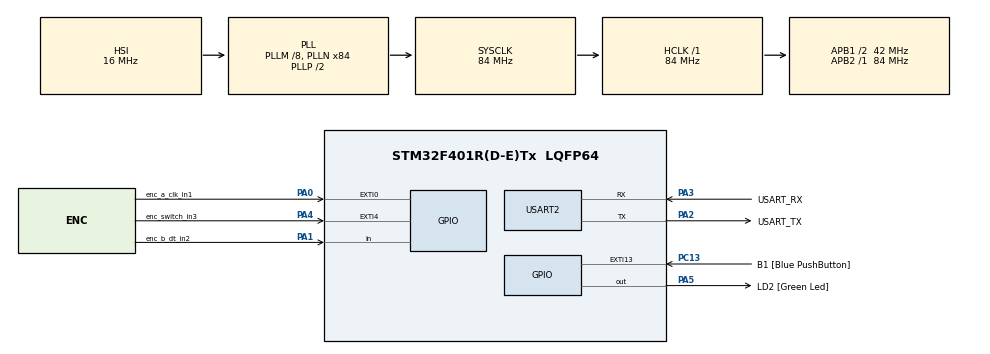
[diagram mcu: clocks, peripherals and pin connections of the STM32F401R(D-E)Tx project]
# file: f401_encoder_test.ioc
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Mcu.Family=STM32F4
Mcu.Name=STM32F401R(D-E)Tx
Mcu.Package=LQFP64
NVIC.EXTI0_IRQn=true\:0\:0\:false\:false\:true\:true\:true\:true
NVIC.EXTI15_10_IRQn=true\:0\:0\:false\:false\:true\:true\:true\:true
NVIC.EXTI4_IRQn=true\:0\:0\:false\:false\:true\:true\:true\:true
NVIC.PriorityGroup=NVIC_PRIORITYGROUP_0
NVIC.TIM5_IRQn=true\:0\:0\:false\:false\:true\:true\:true\:true
PA0-WKUP.GPIO_Label=enc_a_clk_in1
PA0-WKUP.GPIO_ModeDefaultEXTI=GPIO_MODE_IT_FALLING
PA0-WKUP.GPIO_PuPd=GPIO_PULLUP
PA0-WKUP.Signal=GPXTI0
PA1.GPIO_Label=enc_b_dt_in2
PA1.GPIO_PuPd=GPIO_PULLUP
PA1.Signal=GPIO_Input
PA13.GPIO_Label=TMS
PA13.Mode=Serial_Wire
PA13.Signal=SYS_JTMS-SWDIO
PA14.GPIO_Label=TCK
PA14.Mode=Serial_Wire
PA14.Signal=SYS_JTCK-SWCLK
PA2.GPIO_Label=USART_TX
PA2.GPIO_Mode=GPIO_MODE_AF_PP
PA2.GPIO_PuPd=GPIO_NOPULL
PA2.GPIO_Speed=GPIO_SPEED_FREQ_LOW
PA2.Mode=Asynchronous
PA2.Signal=USART2_TX
PA3.GPIO_Label=USART_RX
PA3.GPIO_Mode=GPIO_MODE_AF_PP
PA3.GPIO_PuPd=GPIO_NOPULL
PA3.GPIO_Speed=GPIO_SPEED_FREQ_LOW
PA3.Mode=Asynchronous
PA3.Signal=USART2_RX
PA4.GPIO_Label=enc_switch_in3
PA4.GPIO_PuPd=GPIO_PULLUP
PA4.Signal=GPXTI4
PA5.GPIO_Label=LD2 [Green Led]
PA5.GPIO_Mode=GPIO_MODE_OUTPUT_PP
PA5.GPIO_PuPd=GPIO_NOPULL
PA5.GPIO_Speed=GPIO_SPEED_FREQ_LOW
PA5.Signal=GPIO_Output
PB3.GPIO_Label=SWO
PB3.Signal=SYS_JTDO-SWO
PC13-ANTI_TAMP.GPIO_Label=B1 [Blue PushButton]
PC13-ANTI_TAMP.GPIO_ModeDefaultEXTI=GPIO_MODE_IT_FALLING
PC13-ANTI_TAMP.GPIO_PuPd=GPIO_NOPULL
PC13-ANTI_TAMP.Signal=GPXTI13
PC14-OSC32_IN.Mode=LSE-External-Oscillator
PC14-OSC32_IN.Signal=RCC_OSC32_IN
PC15-OSC32_OUT.Mode=LSE-External-Oscillator
PC15-OSC32_OUT.Signal=RCC_OSC32_OUT
PH0\ -\ OSC_IN.Mode=HSE-External-Clock-Source
PH0\ -\ OSC_IN.Signal=RCC_OSC_IN
PH1\ -\ OSC_OUT.Mode=HSE-External-Clock-Source
PH1\ -\ OSC_OUT.Signal=RCC_OSC_OUT
ProjectManager.HeapSize=0x200
ProjectManager.StackSize=0x400
ProjectManager.TargetToolchain=Makefile
RCC.48MHZClocksFreq_Value=24000000
RCC.AHBFreq_Value=84000000
RCC.APB1CLKDivider=RCC_HCLK_DIV2
RCC.APB1Freq_Value=42000000
RCC.APB1TimFreq_Value=84000000
RCC.APB2Freq_Value=84000000
RCC.APB2TimFreq_Value=84000000
RCC.CortexFreq_Value=84000000
RCC.HCLKFreq_Value=84000000
RCC.HSE_VALUE=8000000
RCC.HSI_VALUE=16000000
RCC.PLLM=8
RCC.PLLN=84
RCC.PLLQ=7
RCC.SYSCLKFreq_VALUE=84000000
RCC.SYSCLKSource=RCC_SYSCLKSOURCE_PLLCLK
RCC.VCOOutputFreq_Value=168000000
TIM5.Period=8400
TIM5.Prescaler=100
USART2.VirtualMode=VM_ASYNC
VP_TIM5_VS_ClockSourceINT.Mode=Internal
VP_TIM5_VS_OPM.Mode=OPM_bit
board=NUCLEO-F401RE

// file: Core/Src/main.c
/* USER CODE BEGIN Header */
/**
  ******************************************************************************
  * @file           : main.c
  * @brief          : Main program body
  ******************************************************************************
  * @attention
  *
  * Copyright (c) 2024 STMicroelectronics.
  * All rights reserved.
  *
  * This software is licensed under terms that can be found in the LICENSE file
  * in the root directory of this software component.
  * If no LICENSE file comes with this software, it is provided AS-IS.
  *
  ******************************************************************************
  */
/* USER CODE END Header */
#include "main.h"

/* USER CODE BEGIN Includes */
#include <stdbool.h>

/* USER CODE END Includes */

TIM_HandleTypeDef htim5;

UART_HandleTypeDef huart2;

/* USER CODE BEGIN PV */
uint32_t rotory_enc_count = 0;
bool switch_push_button = false;
uint32_t i = 0;
bool debounce = false;

/* USER CODE END PV */

void SystemClock_Config(void);
static void MX_GPIO_Init(void);
static void MX_USART2_UART_Init(void);
static void MX_TIM5_Init(void);

int main(void)
{

  /* MCU Configuration--------------------------------------------------------*/

  /* Reset of all peripherals, Initializes the Flash interface and the Systick. */
  HAL_Init();

  /* Configure the system clock */
  SystemClock_Config();

  /* Initialize all configured peripherals */
  MX_GPIO_Init();
  MX_USART2_UART_Init();
  MX_TIM5_Init();

  /* Infinite loop */
  while (1)
  {

    /* USER CODE BEGIN 3 */
    if (switch_push_button==true){
      i++;
      switch_push_button = false;
    }
    {
      /* code */
    }

  }
  /* USER CODE END 3 */
}

void SystemClock_Config(void)
{
  RCC_OscInitTypeDef RCC_OscInitStruct = {0};
  RCC_ClkInitTypeDef RCC_ClkInitStruct = {0};

  /** Configure the main internal regulator output voltage
  */
  __HAL_RCC_PWR_CLK_ENABLE();
  __HAL_PWR_VOLTAGESCALING_CONFIG(PWR_REGULATOR_VOLTAGE_SCALE2);

  /** Initializes the RCC Oscillators according to the specified parameters
  * in the RCC_OscInitTypeDef structure.
  */
  RCC_OscInitStruct.OscillatorType = RCC_OSCILLATORTYPE_HSI;
  RCC_OscInitStruct.HSIState = RCC_HSI_ON;
  RCC_OscInitStruct.HSICalibrationValue = RCC_HSICALIBRATION_DEFAULT;
  RCC_OscInitStruct.PLL.PLLState = RCC_PLL_ON;
  RCC_OscInitStruct.PLL.PLLSource = RCC_PLLSOURCE_HSI;
  RCC_OscInitStruct.PLL.PLLM = 8;
  RCC_OscInitStruct.PLL.PLLN = 84;
  RCC_OscInitStruct.PLL.PLLP = RCC_PLLP_DIV2;
  RCC_OscInitStruct.PLL.PLLQ = 7;
  if (HAL_RCC_OscConfig(&RCC_OscInitStruct) != HAL_OK)
  {
    Error_Handler();
  }

  /** Initializes the CPU, AHB and APB buses clocks
  */
  RCC_ClkInitStruct.ClockType = RCC_CLOCKTYPE_HCLK|RCC_CLOCKTYPE_SYSCLK
                              |RCC_CLOCKTYPE_PCLK1|RCC_CLOCKTYPE_PCLK2;
  RCC_ClkInitStruct.SYSCLKSource = RCC_SYSCLKSOURCE_PLLCLK;
  RCC_ClkInitStruct.AHBCLKDivider = RCC_SYSCLK_DIV1;
  RCC_ClkInitStruct.APB1CLKDivider = RCC_HCLK_DIV2;
  RCC_ClkInitStruct.APB2CLKDivider = RCC_HCLK_DIV1;

  if (HAL_RCC_ClockConfig(&RCC_ClkInitStruct, FLASH_LATENCY_2) != HAL_OK)
  {
    Error_Handler();
  }
}

static void MX_TIM5_Init(void)
{

  TIM_ClockConfigTypeDef sClockSourceConfig = {0};
  TIM_MasterConfigTypeDef sMasterConfig = {0};

  htim5.Instance = TIM5;
  htim5.Init.Prescaler = 100;
  htim5.Init.CounterMode = TIM_COUNTERMODE_UP;
  htim5.Init.Period = 8400;
  htim5.Init.ClockDivision = TIM_CLOCKDIVISION_DIV1;
  htim5.Init.AutoReloadPreload = TIM_AUTORELOAD_PRELOAD_DISABLE;
  if (HAL_TIM_Base_Init(&htim5) != HAL_OK)
  {
    Error_Handler();
  }
  sClockSourceConfig.ClockSource = TIM_CLOCKSOURCE_INTERNAL;
  if (HAL_TIM_ConfigClockSource(&htim5, &sClockSourceConfig) != HAL_OK)
  {
    Error_Handler();
  }
  if (HAL_TIM_OnePulse_Init(&htim5, TIM_OPMODE_SINGLE) != HAL_OK)
  {
    Error_Handler();
  }
  sMasterConfig.MasterOutputTrigger = TIM_TRGO_RESET;
  sMasterConfig.MasterSlaveMode = TIM_MASTERSLAVEMODE_DISABLE;
  if (HAL_TIMEx_MasterConfigSynchronization(&htim5, &sMasterConfig) != HAL_OK)
  {
    Error_Handler();
  }

}

static void MX_USART2_UART_Init(void)
{

  huart2.Instance = USART2;
  huart2.Init.BaudRate = 115200;
  huart2.Init.WordLength = UART_WORDLENGTH_8B;
  huart2.Init.StopBits = UART_STOPBITS_1;
  huart2.Init.Parity = UART_PARITY_NONE;
  huart2.Init.Mode = UART_MODE_TX_RX;
  huart2.Init.HwFlowCtl = UART_HWCONTROL_NONE;
  huart2.Init.OverSampling = UART_OVERSAMPLING_16;
  if (HAL_UART_Init(&huart2) != HAL_OK)
  {
    Error_Handler();
  }

}

static void MX_GPIO_Init(void)
{
  GPIO_InitTypeDef GPIO_InitStruct = {0};

  /* GPIO Ports Clock Enable */
  __HAL_RCC_GPIOC_CLK_ENABLE();
  __HAL_RCC_GPIOH_CLK_ENABLE();
  __HAL_RCC_GPIOA_CLK_ENABLE();
  __HAL_RCC_GPIOB_CLK_ENABLE();

  /*Configure GPIO pin Output Level */
  HAL_GPIO_WritePin(LD2_GPIO_Port, LD2_Pin, GPIO_PIN_RESET);

  /*Configure GPIO pin : B1_Pin */
  GPIO_InitStruct.Pin = B1_Pin;
  GPIO_InitStruct.Mode = GPIO_MODE_IT_FALLING;
  GPIO_InitStruct.Pull = GPIO_NOPULL;
  HAL_GPIO_Init(B1_GPIO_Port, &GPIO_InitStruct);

  /*Configure GPIO pin : enc_a_clk_in1_Pin */
  GPIO_InitStruct.Pin = enc_a_clk_in1_Pin;
  GPIO_InitStruct.Mode = GPIO_MODE_IT_FALLING;
  GPIO_InitStruct.Pull = GPIO_PULLUP;
  HAL_GPIO_Init(enc_a_clk_in1_GPIO_Port, &GPIO_InitStruct);

  /*Configure GPIO pin : enc_b_dt_in2_Pin */
  GPIO_InitStruct.Pin = enc_b_dt_in2_Pin;
  GPIO_InitStruct.Mode = GPIO_MODE_INPUT;
  GPIO_InitStruct.Pull = GPIO_PULLUP;
  HAL_GPIO_Init(enc_b_dt_in2_GPIO_Port, &GPIO_InitStruct);

  /*Configure GPIO pin : enc_switch_in3_Pin */
  GPIO_InitStruct.Pin = enc_switch_in3_Pin;
  GPIO_InitStruct.Mode = GPIO_MODE_IT_RISING;
  GPIO_InitStruct.Pull = GPIO_PULLUP;
  HAL_GPIO_Init(enc_switch_in3_GPIO_Port, &GPIO_InitStruct);

  /*Configure GPIO pin : LD2_Pin */
  GPIO_InitStruct.Pin = LD2_Pin;
  GPIO_InitStruct.Mode = GPIO_MODE_OUTPUT_PP;
  GPIO_InitStruct.Pull = GPIO_NOPULL;
  GPIO_InitStruct.Speed = GPIO_SPEED_FREQ_LOW;
  HAL_GPIO_Init(LD2_GPIO_Port, &GPIO_InitStruct);

  /* EXTI interrupt init*/
  HAL_NVIC_SetPriority(EXTI0_IRQn, 0, 0);
  HAL_NVIC_EnableIRQ(EXTI0_IRQn);

  HAL_NVIC_SetPriority(EXTI4_IRQn, 0, 0);
  HAL_NVIC_EnableIRQ(EXTI4_IRQn);

  HAL_NVIC_SetPriority(EXTI15_10_IRQn, 0, 0);
  HAL_NVIC_EnableIRQ(EXTI15_10_IRQn);

}

/* USER CODE BEGIN 4 */

void HAL_GPIO_EXTI_Callback(uint16_t GPIO_Pin) {

    // werte Encoder aus Rotor DC Motor aus
    if (GPIO_Pin == enc_a_clk_in1_Pin && !debounce) {
          __HAL_TIM_CLEAR_FLAG(&htim5, TIM_FLAG_UPDATE);
          HAL_TIM_Base_Start_IT(&htim5);
          debounce = true;
       //wenn A High und B High, increment Encoder Count
        if (HAL_GPIO_ReadPin(enc_b_dt_in2_GPIO_Port, enc_b_dt_in2_Pin)) {
          rotory_enc_count--;
        } else {
          // wenn A High und B Low, decrement Encoder Count
            rotory_enc_count++;
        }
    }

    if(GPIO_Pin == enc_switch_in3_Pin && !debounce){
      __HAL_TIM_CLEAR_FLAG(&htim5, TIM_FLAG_UPDATE);
      HAL_TIM_Base_Start_IT(&htim5);
      debounce = true;
      switch_push_button = true;
    }
}
void HAL_TIM_PeriodElapsedCallback(TIM_HandleTypeDef *htim) {
    // reset debounce flag nach Timer5 elapsed
    if (htim == &htim5) {
        HAL_TIM_Base_Stop_IT(&htim5);
        debounce = false;
    }
}
/* USER CODE END 4 */

void Error_Handler(void)
{
  __disable_irq();
  while (1)
  {
  }
}
